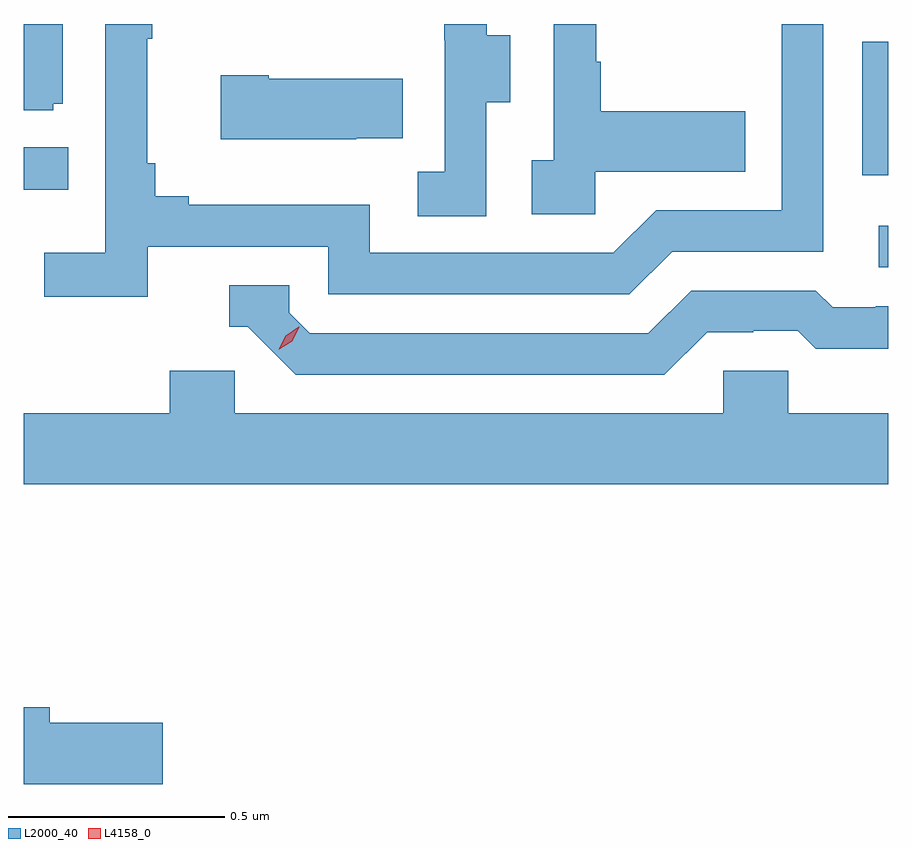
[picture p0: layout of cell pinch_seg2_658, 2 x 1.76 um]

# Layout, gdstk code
import gdstk
lib = gdstk.Library(unit=1e-6, precision=1e-09)
def R(c, l, rs):  # rectangles x0, y0, x1, y1
    for r in rs: c.add(gdstk.rectangle(r[:2], r[2:], *l))
def P(c, l, *ps):  # polygons
    for p in ps: c.add(gdstk.Polygon(p, *l))
L2000_40 = (2000, 40)
L4158_0 = (4158, 0)

pinch_seg2_658 = lib.new_cell('pinch_seg2_658')
R(pinch_seg2_658, L2000_40, [(1068.711,589.53,1068.732,589.626), (1066.732,589.709,1066.835,589.808), (1068.672,589.743,1068.732,590.052)])
P(pinch_seg2_658, L2000_40, [(1066.8,589.908),(1066.822,589.908),(1066.822,590.093),(1066.732,590.093),(1066.732,589.893),(1066.8,589.893)],
  [(1067.018,589.578),(1067.436,589.578),(1067.436,589.467),(1068.133,589.467),(1068.232,589.566),(1068.582,589.566),(1068.582,590.093),(1068.486,590.093),(1068.486,589.662),(1068.195,589.662),(1068.096,589.563),(1067.532,589.563),(1067.532,589.675),(1067.113,589.675),(1067.113,589.694),(1067.036,589.694),(1067.036,589.771),(1067.017,589.771),(1067.017,590.059),(1067.029,590.059),(1067.029,590.093),(1066.92,590.093),(1066.92,589.564),(1066.779,589.564),(1066.779,589.462),(1067.018,589.462)],
  [(1068.054,589.751),(1068.401,589.751),(1068.401,589.891),(1068.067,589.891),(1068.067,590.006),(1068.057,590.006),(1068.057,590.093),(1067.958,590.093),(1067.958,589.778),(1067.907,589.778),(1067.907,589.653),(1068.054,589.653)],
  [(1067.802,589.912),(1067.857,589.912),(1067.857,590.067),(1067.803,590.067),(1067.803,590.093),(1067.705,590.093),(1067.705,590.055),(1067.706,590.055),(1067.706,589.751),(1067.643,589.751),(1067.643,589.648),(1067.802,589.648)],
  [(1067.501,589.829),(1067.609,589.829),(1067.609,589.966),(1067.299,589.966),(1067.299,589.974),(1067.187,589.974),(1067.187,589.826),(1067.501,589.826)],
  [(1068.313,589.38),(1068.42,589.38),(1068.42,589.383),(1068.523,589.383),(1068.565,589.341),(1068.732,589.341),(1068.732,589.44),(1068.703,589.44),(1068.703,589.437),(1068.604,589.437),(1068.565,589.476),(1068.276,589.476),(1068.177,589.377),(1067.394,589.377),(1067.346,589.425),(1067.346,589.488),(1067.207,589.488),(1067.207,589.392),(1067.25,589.392),(1067.361,589.281),(1068.214,589.281)],
  [(1068.732,589.192),(1068.501,589.192),(1068.501,589.29),(1068.351,589.29),(1068.351,589.192),(1067.22,589.192),(1067.22,589.29),(1067.069,589.29),(1067.069,589.192),(1066.732,589.192),(1066.732,589.028),(1068.732,589.028)],
  [(1067.053,588.476),(1066.792,588.476),(1066.792,588.512),(1066.732,588.512),(1066.732,588.334),(1067.053,588.334)])
P(pinch_seg2_658, L4158_0, [(1067.322,589.34),(1067.322,589.34),(1067.338,589.372),(1067.368,589.392),(1067.369,589.392),(1067.369,589.392),(1067.353,589.359),(1067.323,589.34)])

lib.write_gds('pinch_seg2_658.gds')
